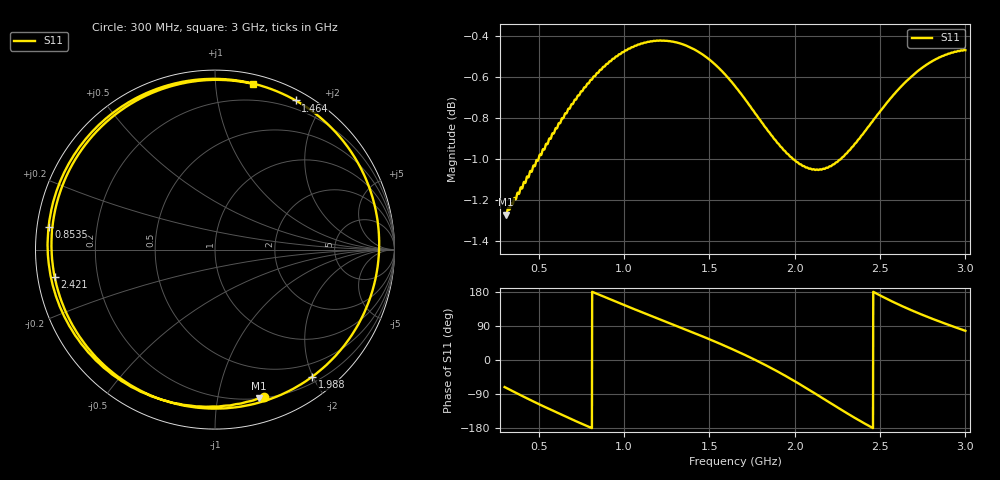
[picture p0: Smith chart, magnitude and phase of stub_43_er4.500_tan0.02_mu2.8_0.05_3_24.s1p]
! Chirptenna · simulación 3D de un stub abierto
# HZ S RI R 50
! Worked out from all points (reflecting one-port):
!   2001 points, 300 MHz to 3 GHz, reference 50 ohm
!   lowest |S11| = -1.3 dB at 309.4 MHz (marker M1), VSWR 13.70, Z = 10.1 - j65.8 ohm
!   phase of S11 starts at -71 deg and turns -572 deg over the sweep
!   S11 on the Smith chart (normalised r, x): 300 MHz: 0.21, -1.37; 853.5 MHz: 0.03, +0.07; 1.464 GHz: 0.11, +1.67; 1.988 GHz: 0.29, -1.99; 2.421 GHz: 0.05, -0.08; 3 GHz: 0.07, +1.25
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3e8  0.2757 -0.8193
3.0945e8  0.2436 -0.8289
3.8505e8  -0.0124 -0.8741
4.62e8  -0.272 -0.843
5.484e8  -0.5361 -0.7213
6.375e8  -0.749 -0.5202
7.428e8  -0.8987 -0.218
8.535e8  -0.9274 0.1269
9.75e8  -0.8147 0.4792
1.1505e9  -0.4458 0.841
1.3125e9  0.0152 0.9511
1.4637e9  0.4496 0.8309
1.55415e9  0.6697 0.6568
1.65e9  0.8386 0.3983
1.7391e9  0.9118 0.1066
1.8228e9  0.8877 -0.1898
1.9038e9  0.7673 -0.4685
1.9875e9  0.5401 -0.7091
2.07255e9  0.2217 -0.8589
2.15355e9  -0.1239 -0.8773
2.23455e9  -0.4539 -0.7643
2.325e9  -0.7386 -0.5072
2.42085e9  -0.8937 -0.1506
2.53155e9  -0.8795 0.2658
2.6625e9  -0.6641 0.6534
2.74215e9  -0.4724 0.81
2.8245e9  -0.2536 0.9077
3e9  0.2128 0.923
